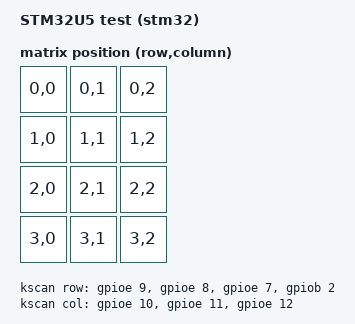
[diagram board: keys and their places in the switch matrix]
/*
 * Copyright (c) 2020 The ZMK Contributors
 *
 * SPDX-License-Identifier: MIT
 */

///dts-v1/;
//#include <st/u5/stm32u575.dtsi>
//
//#include <dt-bindings/zmk/matrix_transform.h>
//
/// {
//	model = "stm32u575test";
//	compatible = "st,stm32u575";
//
//	chosen {
//		// zephyr,sram = &sram0;
//		// zephyr,flash = &flash0;
//		zmk,kscan = &kscan0;
//		zmk,matrix-transform = &default_transform;
//	};
//
//	transform: transform {
//		compatible = "zmk,matrix-transform";
//		columns = <3>;
//		rows = <4>;
//		map = <
//					  RC(0, 0) RC(0, 1) RC(0, 2)
//					  RC(1, 0) RC(1, 1) RC(1, 2)
//					  RC(2, 0) RC(2, 1) RC(2, 2)
//					  RC(3, 0) RC(3, 1) RC(3, 2)
//			  >;
//	};
//
//	kscan: kscan {
//		compatible = "zmk,kscan-gpio-matrix";
//		diode-direction = "col2row";
//		row-gpios
//		= <&gpioe 9 (GPIO_ACTIVE_HIGH | GPIO_PULL_DOWN)>
//		, <&gpioe 8 (GPIO_ACTIVE_HIGH | GPIO_PULL_DOWN)>
//		, <&gpioe 7 (GPIO_ACTIVE_HIGH | GPIO_PULL_DOWN)>
//		, <&gpiob 2 (GPIO_ACTIVE_HIGH | GPIO_PULL_DOWN)>
//		;
//		col-gpios
//		= <&gpioe 10 GPIO_ACTIVE_HIGH>
//		, <&gpioe 11 GPIO_ACTIVE_HIGH>
//		, <&gpioe 12 GPIO_ACTIVE_HIGH>
//		;
//	};
//
//};

// zephyr_udc0: &usb {
//     status = "okay";
// };

// &flash0 {
//     /*
//      * For more information, see:
//      * http://docs.zephyrproject.org/latest/guides/dts/index.html#flash-partitions
//      */
//     partitions {
//         compatible = "fixed-partitions";
//         #address-cells = <1>;
//         #size-cells = <1>;

//         /* Set 6Kb of storage at the end of the 256Kb of flash */
//         storage_partition: partition@3e800 {
//             reg = <0x0003e800 0x00001800>;
//         };
//     };
// };


/*
 * Copyright (c) 2020 The ZMK Contributors
 *
 * SPDX-License-Identifier: MIT
 */
/dts-v1/;
#include <st/u5/stm32u575.dtsi>
#include <st/u5/stm32u575vgtx-pinctrl.dtsi>
#include "arduino_r3_connector.dtsi"
#include <zephyr/dt-bindings/input/input-event-codes.h>

#include <dt-bindings/zmk/matrix_transform.h>

/ {
	model = "STM32U5 test (stm32)";
	compatible = "st,stm32u575", "st,stm32u5";

	chosen {
		zephyr,sram = &sram0;
		zephyr,flash = &flash0;
		zmk,kscan = &kscan;
		zmk,matrix_transform = &transform;
		// zephyr,console = &cdc_acm_uart;
		/* TODO: Enable once we support the IC for underglow
		zmk,underglow = &led_strip;
		 */
	};

	transform: transform {
		compatible = "zmk,matrix-transform";
		columns = <3>;
		rows = <4>;
		map = <
					  RC(0, 0) RC(0, 1) RC(0, 2)
					  RC(1, 0) RC(1, 1) RC(1, 2)
					  RC(2, 0) RC(2, 1) RC(2, 2)
					  RC(3, 0) RC(3, 1) RC(3, 2)
			  >;
	};

	kscan: kscan {
		compatible = "zmk,kscan-gpio-matrix";
		diode-direction = "col2row";
		row-gpios
		= <&gpioe 9 (GPIO_ACTIVE_HIGH | GPIO_PULL_DOWN)>
		, <&gpioe 8 (GPIO_ACTIVE_HIGH | GPIO_PULL_DOWN)>
		, <&gpioe 7 (GPIO_ACTIVE_HIGH | GPIO_PULL_DOWN)>
		, <&gpiob 2 (GPIO_ACTIVE_HIGH | GPIO_PULL_DOWN)>
		;
		col-gpios
		= <&gpioe 10 GPIO_ACTIVE_HIGH>
		, <&gpioe 11 GPIO_ACTIVE_HIGH>
		, <&gpioe 12 GPIO_ACTIVE_HIGH>
		;
	};
};


&clk_hsi48 {
	status = "okay";
};

&clk_lse {
	status = "okay";
};

&clk_msis {
	status = "okay";
	msi-range = <4>;
	msi-pll-mode;
};

&pll1 {
	div-m = <1>;
	mul-n = <80>;
	div-q = <2>;
	div-r = <2>;
	clocks = <&clk_msis>;
	status = "okay";
};

&rcc {
	clocks = <&pll1>;
	clock-frequency = <DT_FREQ_M(160)>;
	ahb-prescaler = <1>;
	apb1-prescaler = <1>;
	apb2-prescaler = <1>;
	apb3-prescaler = <1>;
};



&usart2 {
	pinctrl-0 = <&usart2_tx_pd5 &usart2_rx_pd6>;
	pinctrl-names = "default";
	current-speed = <115200>;
	status = "okay";
};

&i2c1 {
	pinctrl-0 = <&i2c1_scl_pb8 &i2c1_sda_pb9>;
	pinctrl-names = "default";
	status = "okay";
	clock-frequency = <I2C_BITRATE_FAST>;
};


&spi1 {
	pinctrl-0 = <&spi1_nss_pa4 &spi1_sck_pa5
				 &spi1_miso_pa6 &spi1_mosi_pa7>;
	pinctrl-names = "default";
	status = "okay";
};

&dac1 {
	/* CAUTION: DAC on PA4 may conflict with SPI1 NSS on same pin */
	pinctrl-0 = <&dac1_out1_pa4>;
	pinctrl-names = "default";
	status = "okay";
};

&adc1 {
	pinctrl-0 = <&adc1_in1_pc0>;
	pinctrl-names = "default";
	st,adc-clock-source = <ASYNC>;
	st,adc-prescaler = <4>;
	status = "okay";
};

&adc4 {
	pinctrl-0 = <&adc4_in18_pb0>;
	pinctrl-names = "default";
	st,adc-clock-source = <ASYNC>;
	st,adc-prescaler = <4>;
	status = "okay";
};

&timers3 {
	st,prescaler = <10000>;
	status = "okay";

	pwm3: pwm {
		pinctrl-0 = <&tim3_ch2_pc7>;
		pinctrl-names = "default";
		status = "okay";
	};
};

&timers4 {
	st,prescaler = <10000>;
	status = "okay";

	pwm4: pwm {
		pinctrl-0 = <&tim4_ch2_pb7>;
		pinctrl-names = "default";
		status = "okay";
	};
};

&iwdg {
	status = "okay";
};

&rng {
	status = "okay";
};

&fdcan1 {
	clocks = <&rcc STM32_CLOCK_BUS_APB1_2 0x00000200>,
			 <&rcc STM32_SRC_PLL1_Q FDCAN1_SEL(1)>;
	pinctrl-0 = <&fdcan1_rx_pd0 &fdcan1_tx_pd1>;
	pinctrl-names = "default";
	bus-speed = <125000>;
	bus-speed-data = <1000000>;
	status = "okay";
};

&vref1 {
	status = "okay";
};

&vbat4 {
	status = "okay";
};


&flash0 {
	/*
	 * For more information, see:
	 * http: //docs.zephyrproject.org/latest/guides/dts/index.html#flash-partitions
	 */
	partitions {
		compatible = "fixed-partitions";
		#address-cells = <1>;
		#size-cells = <1>;

		/* Set 6Kb of storage at the end of the 128Kb of flash */
		storage_partition: partition@3e800 {
			label = "storage";
			reg = <0x0001e800 0x00001800>;
		};
	};
};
